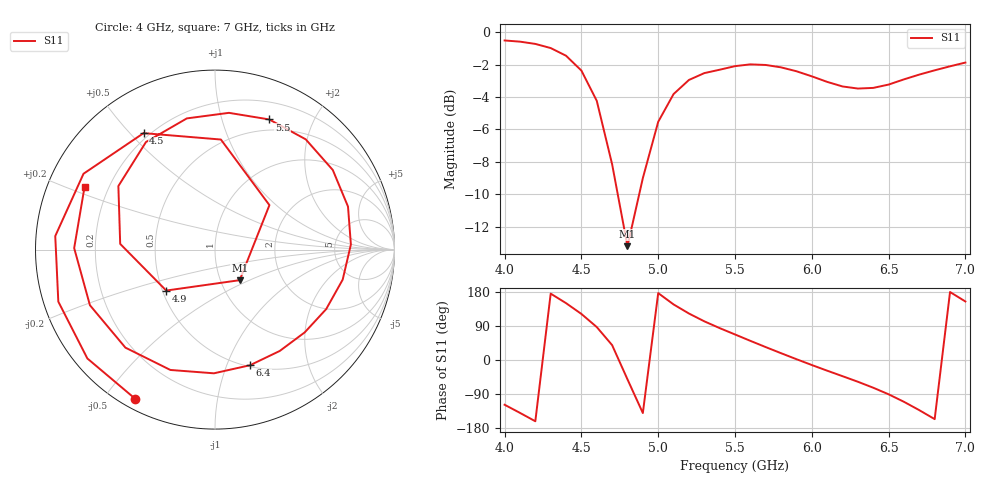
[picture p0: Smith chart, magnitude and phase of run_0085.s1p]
! Touchstone file exported from HFSS 2024.2.0
!  File:  C:/Users/wsak9/Desktop/Sim Fast/Widenad Patch/WP_AI_V1_sweep.aedt
!  Generated:  06:28:08 PM Oct 13, 2026
!  Design:  A1_model
!  Project:  WP_AI_V1_sweep
!  Setup:  Setup1
!  Solution:  Sweep
! Variables:
!  Air_gap = 2.21mm
!  Curve_Amp1 = 1.83
!  Curve_len1 = 1
!  Curve_pos = 11.94mm
!  Extra = 2.75mm
!  H_sub = 0.79mm
!  L_Patch = 19.88mm
!  L_Patch1 = 12.92mm
!  Sx = 1.65mm
!  Sy = 0.38mm
!  WS = 1.38mm
!  W_Patch = 16.81mm
!  W_Patch1 = 10.17mm
!Data is not renormalized
# GHz S MA
! Terminal data exported
! Port[1] = 1
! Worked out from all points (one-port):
!   31 points, 4 GHz to 7 GHz, reference per port
!   lowest |S11| = -13.2 dB at 4.8 GHz (marker M1), VSWR 1.56
!   |S11| at or under -10 dB: 4.737 GHz to 4.876 GHz (139.4 MHz wide, 2.9 % of centre)
!   S11 on the Smith chart (normalised r, x): 4 GHz: 0.04, -0.60; 4.5 GHz: 0.18, +0.55; 4.9 GHz: 0.52, -0.27; 5.5 GHz: 0.38, +1.43; 6.4 GHz: 0.51, -1.21; 7 GHz: 0.11, +0.22
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4  0.9426 -118.1
4.1  0.9347 -139.5
4.2  0.9198 -161.6
4.3  0.8932 175.2
4.4  0.8458 150.0
4.5  0.7612 121.5
4.6  0.6141 86.9
4.7  0.3916 39.3
4.8  0.2189 -51.1
4.9  0.3548 -140.0
5  0.5291 176.6
5.1  0.6443 146.7
5.2  0.7121 122.7
5.3  0.7476 102.1
5.4  0.7659 84.2
5.5  0.7856 67.4
5.7  0.7921 34.1
5.8  0.7788 17.9
5.9  0.7576 2.2
6.1  0.7026 -28.2
6.3  0.6701 -57.4
6.4  0.6732 -73.2
6.5  0.6893 -90.5
6.6  0.7152 -110.3
6.7  0.7399 -132.4
6.8  0.7626 -156.0
6.9  0.7846 179.4
7  0.8058 154.5
